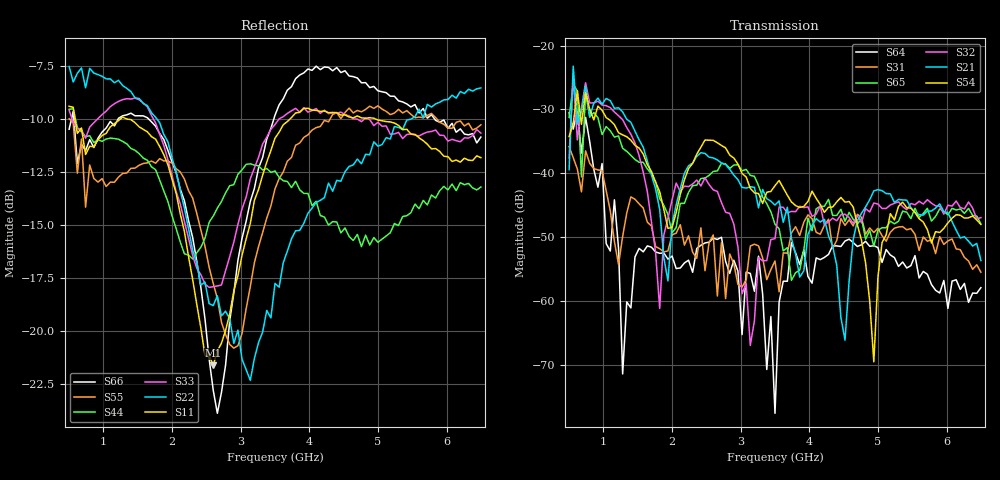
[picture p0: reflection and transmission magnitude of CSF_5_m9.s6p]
!Keysight Technologies,M9804A,MY58100912,A.14.10.03
!Date: Thursday, April 27, 2023 10:28:33
!Correction: S11(C  6-Port  )
!S12(C  6-Port  )
!S13(C  6-Port  )
!S14(C  6-Port  )
!S15(C  6-Port  )
!S16(C  6-Port  )
!S21(C  6-Port  )
!S22(C  6-Port  )
!S23(C  6-Port  )
!S24(C  6-Port  )
!S25(C  6-Port  )
!S26(C  6-Port  )
!S31(C  6-Port  )
!S32(C  6-Port  )
!S33(C  6-Port  )
!S34(C  6-Port  )
!S35(C  6-Port  )
!S36(C  6-Port  )
!S41(C  6-Port  )
!S42(C  6-Port  )
!S43(C  6-Port  )
!S44(C  6-Port  )
!S45(C  6-Port  )
!S46(C  6-Port  )
!S51(C  6-Port  )
!S52(C  6-Port  )
!S53(C  6-Port  )
!S54(C  6-Port  )
!S55(C  6-Port  )
!S56(C  6-Port  )
!S61(C  6-Port  )
!S62(C  6-Port  )
!S63(C  6-Port  )
!S64(C  6-Port  )
!S65(C  6-Port  )
!S66(C  6-Port  )
!S6P File: Measurement: :
# Hz S  RI  R 50
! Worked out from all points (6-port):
!   101 points, 500 MHz to 6.5 GHz, reference 50 ohm
!   strongest paths, dB at 500 MHz, 2 GHz, 3.5 GHz, 5 GHz, 6.5 GHz:
!     S54: -34.2, -48.5, -41.9, -56.2, -48.0
!     S21: -39.4, -48.0, -45.0, -42.5, -53.6
!     S32: -37.6, -44.1, -50.2, -44.8, -46.9
!     S65: -31.2, -49.3, -48.0, -48.9, -47.9
!     S31: -35.8, -49.6, -53.7, -48.6, -55.5
!     S64: -30.5, -52.9, -77.5, -51.6, -57.9
!   lowest |S11| = -21.6 dB at 2.6 GHz (marker M1), VSWR 1.18, Z = 42.6 + j2.06 ohm
!   |S11| at or under -10 dB: 587.4 MHz to 1.243 GHz (655.3 MHz wide, 71.6 % of centre); 1.361 GHz to 3.715 GHz (2.354 GHz wide, 92.7 % of centre); 4.975 GHz to end of sweep
